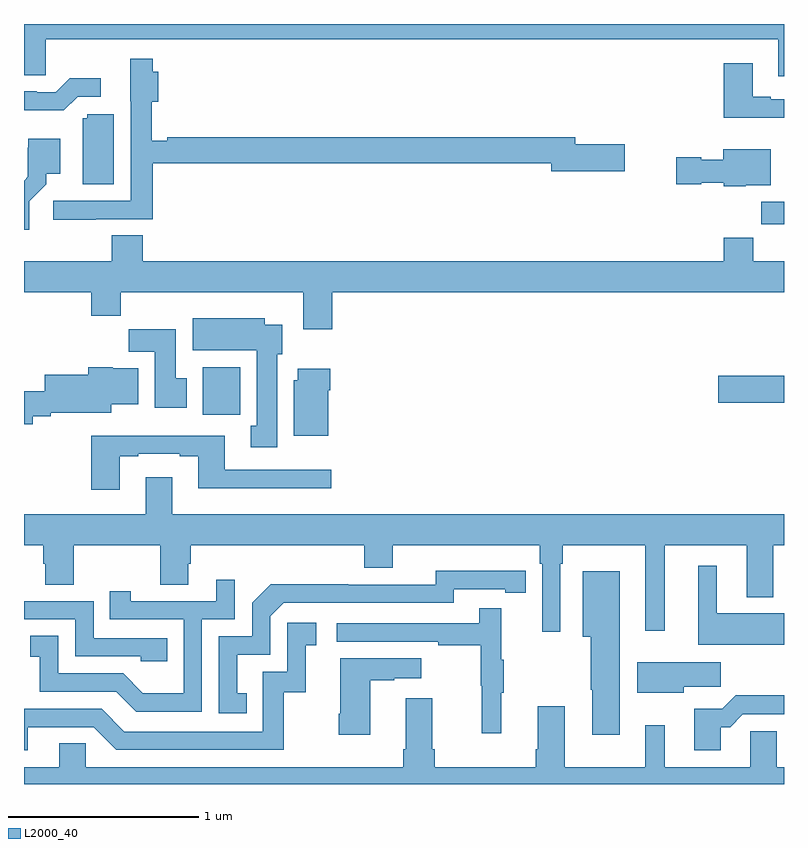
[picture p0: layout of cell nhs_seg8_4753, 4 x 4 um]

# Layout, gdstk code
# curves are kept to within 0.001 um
import gdstk
lib = gdstk.Library(unit=1e-6, precision=1e-09)
def R(c, l, rs):  # rectangles x0, y0, x1, y1
    for r in rs: c.add(gdstk.rectangle(r[:2], r[2:], *l))
def P(c, l, *ps):  # polygons
    for p in ps: c.add(gdstk.Polygon(p, *l))
L2000_40 = (2000, 40)

nhs_seg8_4753 = lib.new_cell('nhs_seg8_4753')
R(nhs_seg8_4753, L2000_40, [(399.941,1127.844,400.137,1128.094), (402.654,1127.906,403,1128.048), (402.88,1128.846,403,1128.964)])
P(nhs_seg8_4753, L2000_40, [(403,1129.9),(399,1129.9),(399,1129.63),(399.114,1129.63),(399.114,1129.82),(402.971,1129.82),(402.971,1129.626),(403,1129.626)],
  [(399.377,1128.873),(399.677,1128.873),(399.677,1129.168),(401.774,1129.168),(401.774,1129.126),(402.163,1129.126),(402.163,1129.268),(401.902,1129.268),(401.902,1129.304),(399.754,1129.304),(399.754,1129.286),(399.673,1129.286),(399.673,1129.49),(399.707,1129.49),(399.707,1129.648),(399.677,1129.648),(399.677,1129.717),(399.56,1129.717),(399.56,1129.494),(399.561,1129.494),(399.561,1128.969),(399.153,1128.969),(399.153,1128.871),(399.377,1128.871)],
  [(403,1129.503),(402.931,1129.503),(402.931,1129.516),(402.835,1129.516),(402.835,1129.693),(402.683,1129.693),(402.683,1129.406),(403,1129.406)],
  [(399.282,1129.518),(399.403,1129.518),(399.403,1129.615),(399.241,1129.615),(399.168,1129.542),(399.068,1129.542),(399.068,1129.545),(399,1129.545),(399,1129.446),(399.209,1129.446)],
  [(399.472,1129.425),(399.333,1129.425),(399.333,1129.404),(399.308,1129.404),(399.308,1129.056),(399.472,1129.056)],
  [(399.028,1128.967),(399.118,1129.057),(399.118,1129.112),(399.19,1129.112),(399.19,1129.297),(399.023,1129.297),(399.023,1129.248),(399.021,1129.248),(399.021,1129.097),(399,1129.076),(399,1128.816),(399.028,1128.816)],
  [(402.798,1129.052),(402.931,1129.052),(402.931,1129.24),(402.68,1129.24),(402.68,1129.186),(402.564,1129.186),(402.564,1129.199),(402.432,1129.199),(402.432,1129.057),(402.564,1129.057),(402.564,1129.064),(402.684,1129.064),(402.684,1129.046),(402.798,1129.046)],
  [(400.622,1128.488),(403,1128.488),(403,1128.652),(402.839,1128.652),(402.839,1128.776),(402.683,1128.776),(402.683,1128.652),(399.626,1128.652),(399.626,1128.788),(399.461,1128.788),(399.461,1128.652),(399,1128.652),(399,1128.488),(399.353,1128.488),(399.353,1128.364),(399.509,1128.364),(399.509,1128.488),(400.469,1128.488),(400.469,1128.294),(400.622,1128.294)],
  [(400.333,1128.162),(400.36,1128.162),(400.36,1128.316),(400.267,1128.316),(400.267,1128.352),(399.887,1128.352),(399.887,1128.182),(400.226,1128.182),(400.226,1127.785),(400.193,1127.785),(400.193,1127.673),(400.333,1127.673)],
  [(399.856,1128.036),(399.799,1128.036),(399.799,1128.294),(399.55,1128.294),(399.55,1128.176),(399.689,1128.176),(399.689,1127.88),(399.856,1127.88)],
  [(399.046,1127.836),(399.142,1127.836),(399.142,1127.855),(399.46,1127.855),(399.46,1127.9),(399.601,1127.9),(399.601,1128.088),(399.468,1128.088),(399.468,1128.094),(399.338,1128.094),(399.338,1128.055),(399.11,1128.055),(399.11,1127.966),(399,1127.966),(399,1127.794),(399.046,1127.794)],
  [(400.6,1127.972),(400.613,1127.972),(400.613,1128.085),(400.442,1128.085),(400.442,1128.024),(400.421,1128.024),(400.421,1127.732),(400.6,1127.732)],
  [(399.505,1127.625),(399.601,1127.625),(399.601,1127.637),(399.821,1127.637),(399.821,1127.625),(399.917,1127.625),(399.917,1127.456),(400.618,1127.456),(400.618,1127.553),(400.057,1127.553),(400.057,1127.734),(399.353,1127.734),(399.353,1127.448),(399.505,1127.448)],
  [(401.823,1127.06),(401.836,1127.06),(401.836,1127.156),(402.269,1127.156),(402.269,1126.707),(402.373,1126.707),(402.373,1127.156),(402.803,1127.156),(402.803,1126.883),(402.943,1126.883),(402.943,1127.156),(403,1127.156),(403,1127.32),(399.781,1127.32),(399.781,1127.515),(399.641,1127.515),(399.641,1127.32),(399,1127.32),(399,1127.156),(399.101,1127.156),(399.101,1127.058),(399.113,1127.058),(399.113,1126.948),(399.261,1126.948),(399.261,1127.156),(399.718,1127.156),(399.718,1126.948),(399.865,1126.948),(399.865,1127.058),(399.878,1127.058),(399.878,1127.156),(400.79,1127.156),(400.79,1127.039),(400.942,1127.039),(400.942,1127.156),(401.714,1127.156),(401.714,1127.06),(401.727,1127.06),(401.727,1126.701),(401.823,1126.701)],
  [(403,1126.798),(402.646,1126.798),(402.646,1127.05),(402.548,1127.05),(402.548,1126.634),(403,1126.634)],
  [(400.172,1126.377),(400.123,1126.377),(400.123,1126.581),(400.296,1126.581),(400.296,1126.782),(400.368,1126.854),(401.262,1126.854),(401.262,1126.926),(401.534,1126.926),(401.534,1126.906),(401.642,1126.906),(401.642,1127.022),(401.166,1127.023),(401.166,1126.95),(400.706,1126.95),(400.706,1126.952),(400.298,1126.952),(400.2,1126.854),(400.2,1126.677),(400.026,1126.677),(400.026,1126.272),(400.172,1126.272)],
  [(402.136,1127.02),(401.942,1127.02),(401.942,1126.676),(401.983,1126.676),(401.983,1126.396),(401.99,1126.396),(401.99,1126.158),(402.136,1126.158)],
  [(399.936,1126.767),(400.11,1126.767),(400.11,1126.975),(400.013,1126.975),(400.013,1126.863),(399.562,1126.863),(399.562,1126.915),(399.451,1126.915),(399.451,1126.767),(399.84,1126.767),(399.84,1126.378),(399.626,1126.378),(399.522,1126.482),(399.18,1126.482),(399.18,1126.681),(399.033,1126.681),(399.033,1126.571),(399.082,1126.571),(399.082,1126.386),(399.485,1126.386),(399.59,1126.281),(399.936,1126.281)],
  [(399.755,1126.668),(399.366,1126.668),(399.366,1126.863),(399,1126.863),(399,1126.767),(399.27,1126.767),(399.27,1126.572),(399.615,1126.572),(399.615,1126.545),(399.755,1126.545)],
  [(401.513,1126.379),(401.524,1126.379),(401.524,1126.553),(401.513,1126.553),(401.513,1126.825),(401.395,1126.825),(401.395,1126.746),(400.647,1126.746),(400.647,1126.65),(401.179,1126.65),(401.179,1126.63),(401.403,1126.63),(401.403,1126.416),(401.41,1126.416),(401.41,1126.167),(401.513,1126.167)],
  [(399.019,1126.2),(399.366,1126.2),(399.486,1126.08),(400.366,1126.08),(400.366,1126.383),(400.484,1126.383),(400.484,1126.629),(400.537,1126.629),(400.537,1126.75),(400.386,1126.75),(400.386,1126.491),(400.257,1126.491),(400.257,1126.176),(399.528,1126.176),(399.408,1126.296),(399,1126.296),(399,1126.077),(399.019,1126.077)],
  [(400.822,1126.447),(400.949,1126.447),(400.949,1126.457),(401.092,1126.457),(401.092,1126.561),(400.664,1126.561),(400.664,1126.27),(400.657,1126.27),(400.657,1126.158),(400.822,1126.158)],
  [(402.472,1126.411),(402.667,1126.411),(402.667,1126.54),(402.228,1126.54),(402.228,1126.379),(402.472,1126.379)],
  [(402.667,1126.199),(402.716,1126.199),(402.783,1126.266),(403,1126.266),(403,1126.367),(402.746,1126.367),(402.676,1126.297),(402.527,1126.297),(402.527,1126.077),(402.667,1126.077)],
  [(403,1125.988),(402.961,1125.988),(402.961,1126.178),(402.822,1126.178),(402.822,1125.988),(402.373,1125.988),(402.373,1126.21),(402.269,1126.21),(402.269,1125.988),(401.845,1125.988),(401.845,1126.309),(401.705,1126.309),(401.705,1126.084),(401.693,1126.084),(401.693,1125.988),(401.162,1125.988),(401.162,1126.084),(401.149,1126.084),(401.149,1126.351),(401.009,1126.351),(401.009,1126.084),(400.997,1126.084),(400.997,1125.988),(399.324,1125.988),(399.324,1126.115),(399.185,1126.115),(399.185,1125.988),(399,1125.988),(399,1125.9),(403,1125.9)])

lib.write_gds('nhs_seg8_4753.gds')
